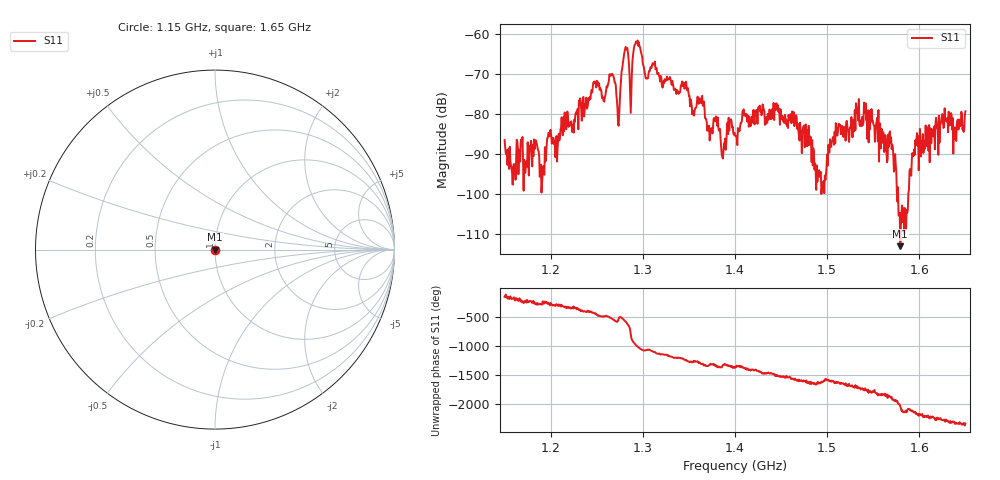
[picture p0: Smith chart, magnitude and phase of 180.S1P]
! C:\Users\rflab\Downloads\Lab5_KD_ZW\Q2\180.S1P
! Touchstone 1.1 file saved by VNA.EXE V1.65 (www.ke5fx.com/gpib/readme.htm)
! 11/12/2024 1:23:46 AM
!  Source: HEWLETT PACKARD,8753D,0,6.14
!  Min freq: 1.150000E+009 Hz
!  Max freq: 1.650000E+009 Hz
!  Points: 801
!  Params: S21
# GHZ S RI R 50
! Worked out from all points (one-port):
!   801 points, 1.15 GHz to 1.65 GHz, reference 50 ohm
!   lowest |S11| = -113.0 dB at 1.579 GHz (marker M1), VSWR 1.00, Z = 50 + j0.0002 ohm
!   |S11| at or under -10 dB: start of sweep to end of sweep
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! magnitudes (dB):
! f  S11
! 1.15 GHz  -86.5
! 1.212 GHz  -83.7
! 1.239 GHz  -75.9
! 1.249 GHz  -72.3
! 1.258 GHz  -76.8
! 1.266 GHz  -70.3
! 1.272 GHz  -78.7
! 1.275 GHz  -76.7
! 1.281 GHz  -63.9
! 1.282 GHz  -63.9
! 1.287 GHz  -79.7
! 1.293 GHz  -62.1
! 1.304 GHz  -71.0
! 1.312 GHz  -67.4
! 1.321 GHz  -72.7
! 1.328 GHz  -71.3
! 1.337 GHz  -74.0
! 1.346 GHz  -73.0
! 1.356 GHz  -80.4
! 1.362 GHz  -76.0
! 1.37 GHz  -84.1
! 1.4 GHz  -85.3
! 1.444 GHz  -79.0
! 1.462 GHz  -79.4
! 1.525 GHz  -83.3
! 1.579 GHz  -113.0
! 1.587 GHz  -104.0
! 1.65 GHz  -79.3
